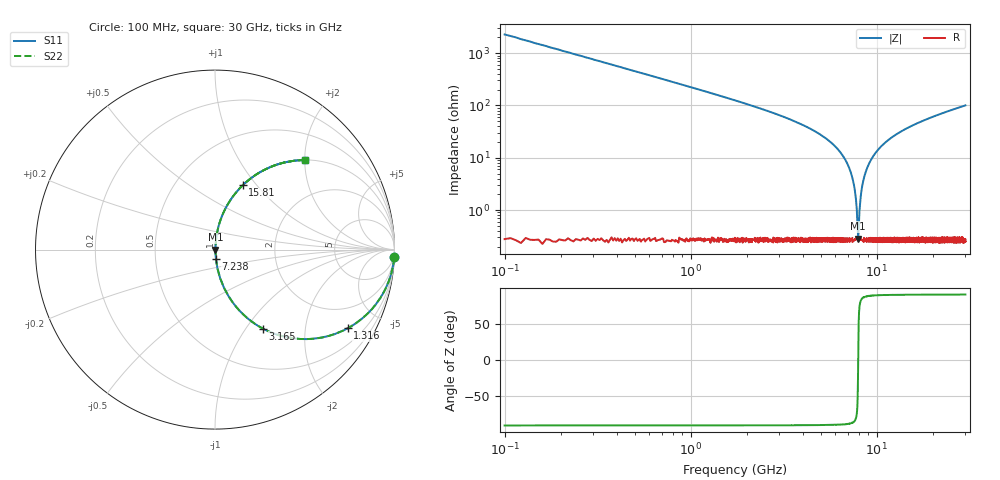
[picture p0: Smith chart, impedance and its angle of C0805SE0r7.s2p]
! AVX Thin Film Operation		Date: April 2012
! Description: Accu-P® Series, Thin Film, SMD, RF Capacitor
! Part Number: 08051J0R7PBTTR
!	100	MHz	-	30.05	GHz
!	Serial	Measurements
#	MHZ	S	MA	R	50
!	S11	S21	S12	S22
!	dB	Phase	dB	Phase	dB	Phase	dB	Phase
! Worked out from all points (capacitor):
!   4010 points, 100 MHz to 30 GHz, reference 50 ohm
!   read as one part in series: C = 700 fF near 249.2 MHz
!   lowest |Z| = 286 mohm at 7.954 GHz (marker M1)
!   series resonance near 7.957 GHz, so ESL is about 570 pH
!   S11 on the Smith chart (normalised r, x): 100 MHz: 1, -45; 1.316 GHz: 1.00, -3.36; 3.165 GHz: 1.01, -1.21; 7.238 GHz: 1.01, -0.11; 15.81 GHz: 1.01, +0.85; 30 GHz: 1.00, +2.00
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100  0.999 -2.5  0.044 87.5  0.044 87.5  0.999 -2.5
338.663  0.989 -8.5  0.148 81.5  0.148 81.5  0.989 -8.5
547.493  0.972 -13.6  0.235 76.4  0.235 76.4  0.972 -13.6
1315.69  0.859 -30.7  0.511 59.2  0.511 59.2  0.859 -30.7
3165.328  0.516 -58.7  0.854 31.1  0.854 31.1  0.516 -58.7
5089.549  0.255 -74.7  0.964 14.7  0.964 14.7  0.255 -74.7
6424.57  0.122 -81.7  0.99 7.0  0.99 7.0  0.122 -81.7
7237.516  0.054 -84.1  0.996 3.1  0.996 3.1  0.054 -84.1
7610.427  0.025 -82.5  0.997 1.5  0.997 1.5  0.025 -82.5
7864.006  0.00719 -67.6  0.997 0.4  0.997 0.4  0.00719 -67.6
7953.505  0.0027 -4.6  0.997 0.0  0.997 0.0  0.0027 -4.6
8050.461  0.00721 67.7  0.997 -0.4  0.997 -0.4  0.00721 67.7
8296.583  0.024 82.2  0.997 -1.4  0.997 -1.4  0.024 82.2
8602.37  0.045 84.0  0.996 -2.5  0.996 -2.5  0.045 84.0
9184.111  0.082 83.4  0.994 -4.7  0.994 -4.7  0.082 83.4
10071.64  0.134 81.1  0.988 -7.7  0.988 -7.7  0.134 81.1
12100.27  0.239 75.6  0.968 -13.8  0.968 -13.8  0.239 75.6
15053.73  0.362 68.4  0.93 -21.2  0.93 -21.2  0.362 68.4
15814.47  0.39 66.7  0.918 -22.9  0.918 -22.9  0.39 66.7
20035.82  0.517 58.6  0.853 -31.2  0.853 -31.2  0.517 58.6
25017.91  0.627 51.0  0.777 -38.9  0.777 -38.9  0.627 51.0
30000  0.707 44.9  0.706 -45.0  0.706 -45.0  0.707 44.9
